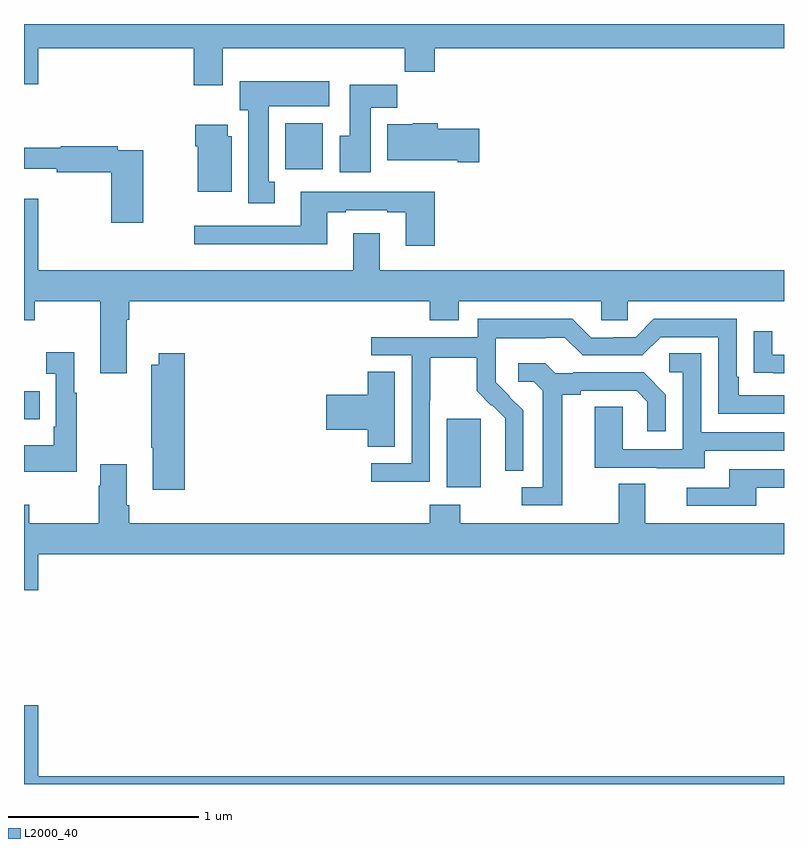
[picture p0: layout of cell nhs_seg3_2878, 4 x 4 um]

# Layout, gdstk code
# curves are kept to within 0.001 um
import gdstk
lib = gdstk.Library(unit=1e-6, precision=1e-09)
def R(c, l, rs):  # rectangles x0, y0, x1, y1
    for r in rs: c.add(gdstk.rectangle(r[:2], r[2:], *l))
def P(c, l, *ps):  # polygons
    for p in ps: c.add(gdstk.Polygon(p, *l))
L2000_40 = (2000, 40)

nhs_seg3_2878 = lib.new_cell('nhs_seg3_2878')
R(nhs_seg3_2878, L2000_40, [(263.225,675.962,263.404,676.323), (261,676.319,261.083,676.467), (262.376,677.636,262.573,677.878)])
P(nhs_seg3_2878, L2000_40, [(262.045,678.272),(263.005,678.272),(263.005,678.148),(263.162,678.148),(263.162,678.272),(265,678.272),(265,678.4),(261,678.4),(261,678.084),(261.076,678.084),(261.076,678.272),(261.893,678.272),(261.893,678.078),(262.045,678.078)],
  [(262.321,677.57),(262.288,677.57),(262.288,677.966),(262.606,677.966),(262.606,678.1),(262.136,678.1),(262.136,677.946),(262.181,677.946),(262.181,677.457),(262.321,677.457)],
  [(262.825,677.96),(262.964,677.96),(262.964,678.079),(262.715,678.079),(262.715,677.812),(262.661,677.812),(262.661,677.619),(262.825,677.619)],
  [(263.395,677.85),(263.177,677.85),(263.177,677.878),(263.046,677.878),(263.046,677.872),(262.913,677.872),(262.913,677.684),(263.282,677.684),(263.282,677.672),(263.395,677.672)],
  [(262.093,677.808),(262.072,677.808),(262.072,677.869),(261.902,677.869),(261.902,677.756),(261.914,677.756),(261.914,677.516),(262.093,677.516)],
  [(261.628,677.736),(261.494,677.736),(261.494,677.756),(261.194,677.756),(261.194,677.749),(261,677.749),(261,677.639),(261.172,677.639),(261.172,677.62),(261.458,677.62),(261.458,677.355),(261.628,677.355)],
  [(263.162,677.518),(262.921,677.518),(262.921,677.517),(262.457,677.517),(262.457,677.337),(261.897,677.337),(261.897,677.24),(262.597,677.24),(262.597,677.409),(262.693,677.409),(262.693,677.421),(262.913,677.421),(262.913,677.409),(263.009,677.409),(263.009,677.232),(263.162,677.232)],
  [(261.541,676.844),(261.554,676.844),(261.554,676.94),(263.135,676.94),(263.135,676.841),(263.287,676.841),(263.287,676.94),(264.039,676.94),(264.039,676.842),(264.177,676.842),(264.177,676.94),(265,676.94),(265,677.104),(262.873,677.104),(262.873,677.299),(262.733,677.299),(262.733,677.104),(261.076,677.104),(261.076,677.479),(261,677.479),(261,676.841),(261.057,676.841),(261.057,676.94),(261.401,676.94),(261.401,676.563),(261.541,676.563)],
  [(263.136,676.42),(263.139,676.42),(263.139,676.644),(263.383,676.644),(263.383,676.469),(263.46,676.392),(263.463,676.395),(263.534,676.325),(263.534,676.202),(263.532,676.202),(263.532,676.048),(263.628,676.048),(263.628,676.366),(263.482,676.514),(263.482,676.611),(263.484,676.611),(263.484,676.745),(263.747,676.745),(263.747,676.749),(263.847,676.749),(263.94,676.656),(264.255,676.656),(264.351,676.752),(264.654,676.752),(264.654,676.35),(265,676.35),(265,676.446),(264.763,676.446),(264.763,676.543),(264.75,676.543),(264.75,676.848),(264.315,676.848),(264.219,676.752),(264.101,676.752),(264.101,676.749),(263.985,676.749),(263.885,676.849),(263.388,676.849),(263.388,676.752),(262.827,676.752),(262.827,676.656),(263.04,676.656),(263.04,676.089),(262.827,676.089),(262.827,675.991),(263.136,675.991)],
  [(265,676.659),(264.937,676.659),(264.937,676.783),(264.841,676.783),(264.841,676.564),(264.943,676.564),(264.943,676.563),(265,676.563)],
  [(261.277,676.459),(261.265,676.459),(261.265,676.672),(261.117,676.672),(261.117,676.559),(261.168,676.559),(261.168,676.279),(261.156,676.279),(261.156,676.183),(261,676.183),(261,676.043),(261.277,676.043)],
  [(264.583,676.155),(265,676.155),(265,676.251),(264.564,676.251),(264.564,676.667),(264.396,676.667),(264.396,676.566),(264.468,676.566),(264.468,676.161),(264.15,676.161),(264.15,676.385),(264.005,676.385),(264.005,676.065),(264.329,676.065),(264.329,676.061),(264.583,676.061)],
  [(261.845,676.666),(261.71,676.666),(261.71,676.606),(261.67,676.606),(261.67,676.171),(261.677,676.171),(261.677,675.948),(261.845,675.948)],
  [(263.833,676.448),(263.929,676.448),(263.929,676.47),(264.224,676.47),(264.281,676.413),(264.281,676.257),(264.378,676.257),(264.378,676.45),(264.262,676.566),(263.89,676.566),(263.89,676.563),(263.796,676.563),(263.744,676.615),(263.601,676.615),(263.601,676.518),(263.682,676.518),(263.729,676.471),(263.729,675.963),(263.619,675.963),(263.619,675.867),(263.833,675.867)],
  [(262.951,676.571),(262.808,676.571),(262.808,676.448),(262.59,676.448),(262.59,676.265),(262.808,676.265),(262.808,676.174),(262.951,676.174)],
  [(261.076,675.608),(265,675.608),(265,675.772),(264.271,675.772),(264.271,675.98),(264.131,675.98),(264.131,675.772),(263.295,675.772),(263.295,675.871),(263.135,675.871),(263.135,675.772),(261.554,675.772),(261.554,675.868),(261.541,675.868),(261.541,676.084),(261.401,676.084),(261.401,675.971),(261.394,675.971),(261.394,675.772),(261.027,675.772),(261.027,675.871),(261,675.871),(261,675.42),(261.076,675.42)],
  [(264.853,675.96),(265,675.96),(265,676.056),(264.713,676.056),(264.713,675.96),(264.489,675.96),(264.489,675.864),(264.853,675.864)],
  [(265,674.44),(261.076,674.44),(261.076,674.815),(261,674.815),(261,674.4),(265,674.4)])

lib.write_gds('nhs_seg3_2878.gds')
